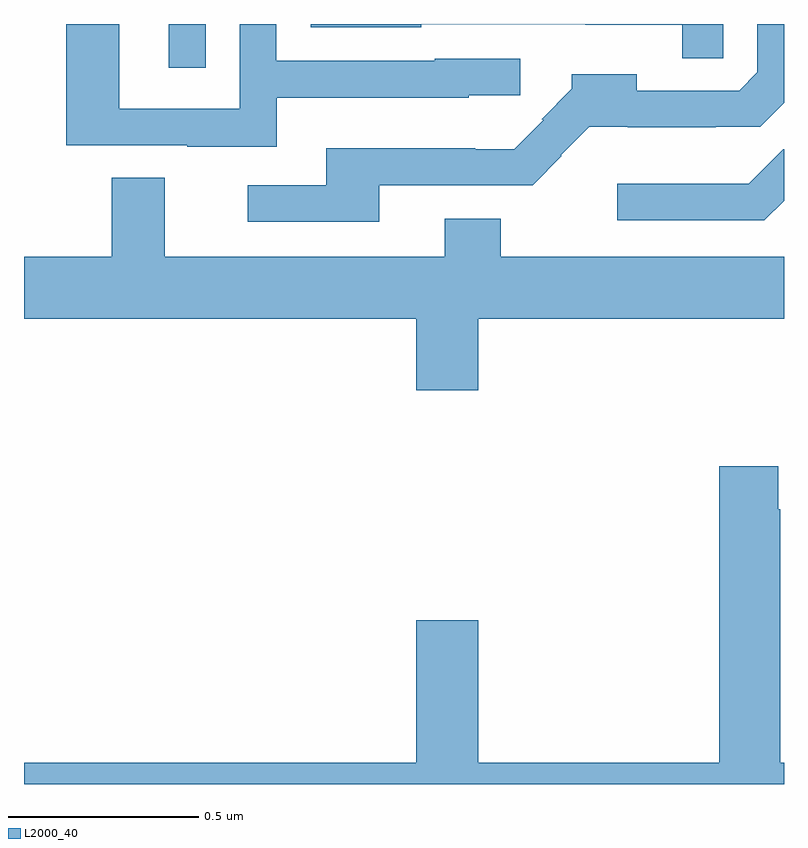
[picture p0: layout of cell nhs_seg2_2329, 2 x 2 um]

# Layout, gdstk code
import gdstk
lib = gdstk.Library(unit=1e-6, precision=1e-09)
def R(c, l, rs):  # rectangles x0, y0, x1, y1
    for r in rs: c.add(gdstk.rectangle(r[:2], r[2:], *l))
def P(c, l, *ps):  # polygons
    for p in ps: c.add(gdstk.Polygon(p, *l))
L2000_40 = (2000, 40)

nhs_seg2_2329 = lib.new_cell('nhs_seg2_2329')
R(nhs_seg2_2329, L2000_40, [(140.381,593.685,140.478,593.8)])
P(nhs_seg2_2329, L2000_40, [(140.935,593.376),(141.339,593.376),(141.415,593.453),(141.413,593.455),(141.487,593.529),(141.589,593.529),(141.589,593.528),(141.821,593.528),(141.821,593.53),(141.937,593.53),(142,593.593),(142,593.8),(141.93,593.8),(141.93,593.673),(141.882,593.625),(141.613,593.625),(141.613,593.668),(141.442,593.668),(141.442,593.629),(141.363,593.55),(141.366,593.547),(141.29,593.471),(141.188,593.471),(141.188,593.473),(140.795,593.473),(140.795,593.376),(140.589,593.376),(140.589,593.28),(140.935,593.28)],
  [(141.84,593.8),(140.754,593.8),(140.754,593.792),(141.045,593.792),(141.045,593.799),(141.477,593.799),(141.477,593.798),(141.732,593.798),(141.732,593.71),(141.84,593.71)],
  [(140.665,593.606),(141.171,593.606),(141.171,593.613),(141.306,593.613),(141.306,593.709),(141.081,593.709),(141.081,593.703),(140.664,593.703),(140.664,593.8),(140.568,593.8),(140.568,593.577),(140.25,593.577),(140.25,593.8),(140.111,593.8),(140.111,593.481),(140.429,593.481),(140.429,593.477),(140.665,593.477)],
  [(142,593.335),(142,593.471),(141.998,593.471),(141.907,593.38),(141.561,593.38),(141.561,593.283),(141.948,593.283)],
  [(141.196,593.024),(142,593.024),(142,593.188),(141.255,593.188),(141.255,593.287),(141.107,593.287),(141.107,593.188),(140.371,593.188),(140.371,593.396),(140.231,593.396),(140.231,593.188),(140,593.188),(140,593.024),(141.032,593.024),(141.032,592.836),(141.196,592.836)],
  [(142,591.856),(141.99,591.856),(141.99,592.523),(141.985,592.523),(141.985,592.636),(141.83,592.636),(141.83,591.856),(141.196,591.856),(141.196,592.231),(141.032,592.231),(141.032,591.856),(140,591.856),(140,591.8),(142,591.8)])

lib.write_gds('nhs_seg2_2329.gds')
